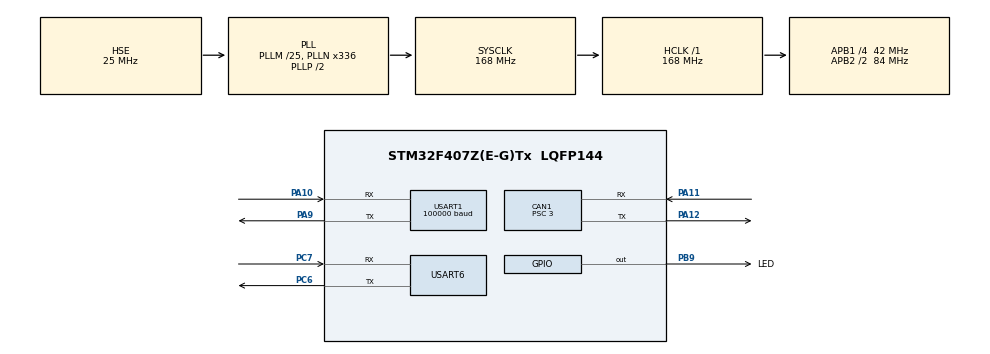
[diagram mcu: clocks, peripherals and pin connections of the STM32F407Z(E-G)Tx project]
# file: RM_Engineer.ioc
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CAN1.ABOM=ENABLE
CAN1.BS1=CAN_BS1_9TQ
CAN1.BS2=CAN_BS2_4TQ
CAN1.CalculateTimeQuantum=71.42857142857143
CAN1.Prescaler=3
Dma.Request0=USART1_RX
Dma.Request1=USART6_RX
Dma.USART1_RX.0.Direction=DMA_PERIPH_TO_MEMORY
Dma.USART1_RX.0.FIFOMode=DMA_FIFOMODE_DISABLE
Dma.USART1_RX.0.Instance=DMA2_Stream2
Dma.USART1_RX.0.MemDataAlignment=DMA_MDATAALIGN_BYTE
Dma.USART1_RX.0.MemInc=DMA_MINC_ENABLE
Dma.USART1_RX.0.Mode=DMA_NORMAL
Dma.USART1_RX.0.PeriphDataAlignment=DMA_PDATAALIGN_BYTE
Dma.USART1_RX.0.PeriphInc=DMA_PINC_DISABLE
Dma.USART1_RX.0.Priority=DMA_PRIORITY_LOW
Dma.USART6_RX.1.Direction=DMA_PERIPH_TO_MEMORY
Dma.USART6_RX.1.FIFOMode=DMA_FIFOMODE_DISABLE
Dma.USART6_RX.1.Instance=DMA2_Stream1
Dma.USART6_RX.1.MemDataAlignment=DMA_MDATAALIGN_BYTE
Dma.USART6_RX.1.MemInc=DMA_MINC_ENABLE
Dma.USART6_RX.1.Mode=DMA_CIRCULAR
Dma.USART6_RX.1.PeriphDataAlignment=DMA_PDATAALIGN_BYTE
Dma.USART6_RX.1.PeriphInc=DMA_PINC_DISABLE
Dma.USART6_RX.1.Priority=DMA_PRIORITY_LOW
FREERTOS.INCLUDE_vTaskDelayUntil=1
FREERTOS.Tasks01=defaultTask,-3,256,StartDefaultTask,Default,NULL,Dynamic,NULL,NULL;ChassisTask,-3,256,chassis_task,As weak,NULL,Dynamic,NULL,NULL;InfoTask,-3,256,info_handle_task,As weak,NULL,Dynamic,NULL,NULL
FREERTOS.configCHECK_FOR_STACK_OVERFLOW=1
Mcu.Family=STM32F4
Mcu.Name=STM32F407Z(E-G)Tx
Mcu.Package=LQFP144
NVIC.CAN1_RX0_IRQn=true\:5\:0\:false\:false\:true\:true\:true\:true
NVIC.CAN1_TX_IRQn=true\:5\:0\:false\:false\:true\:true\:true\:true
NVIC.DMA2_Stream1_IRQn=true\:5\:0\:false\:false\:true\:true\:false\:true
NVIC.DMA2_Stream2_IRQn=true\:5\:0\:false\:false\:true\:true\:false\:true
NVIC.PriorityGroup=NVIC_PRIORITYGROUP_4
NVIC.USART1_IRQn=true\:5\:0\:false\:false\:true\:true\:true\:true
NVIC.USART6_IRQn=true\:5\:0\:false\:false\:true\:true\:true\:true
PA10.Mode=Asynchronous
PA10.Signal=USART1_RX
PA11.Mode=Master
PA11.Signal=CAN1_RX
PA12.Mode=Master
PA12.Signal=CAN1_TX
PA9.Mode=Asynchronous
PA9.Signal=USART1_TX
PB9.GPIO_Label=LED
PB9.GPIO_PuPd=GPIO_PULLUP
PB9.Signal=GPIO_Output
PC6.Mode=Asynchronous
PC6.Signal=USART6_TX
PC7.Mode=Asynchronous
PC7.Signal=USART6_RX
PH0-OSC_IN.Mode=HSE-External-Oscillator
PH0-OSC_IN.Signal=RCC_OSC_IN
PH1-OSC_OUT.Mode=HSE-External-Oscillator
PH1-OSC_OUT.Signal=RCC_OSC_OUT
ProjectManager.HeapSize=0x200
ProjectManager.StackSize=0x400
ProjectManager.TargetToolchain=MDK-ARM V5
RCC.48MHZClocksFreq_Value=84000000
RCC.AHBFreq_Value=168000000
RCC.APB1CLKDivider=RCC_HCLK_DIV4
RCC.APB1Freq_Value=42000000
RCC.APB1TimFreq_Value=84000000
RCC.APB2CLKDivider=RCC_HCLK_DIV2
RCC.APB2Freq_Value=84000000
RCC.APB2TimFreq_Value=168000000
RCC.CortexFreq_Value=168000000
RCC.HCLKFreq_Value=168000000
RCC.HSE_VALUE=25000000
RCC.HSI_VALUE=16000000
RCC.LSE_VALUE=32768
RCC.PLLM=25
RCC.PLLN=336
RCC.PLLSourceVirtual=RCC_PLLSOURCE_HSE
RCC.SYSCLKFreq_VALUE=168000000
RCC.SYSCLKSource=RCC_SYSCLKSOURCE_PLLCLK
RCC.VCOOutputFreq_Value=336000000
USART1.BaudRate=100000
USART1.Mode=MODE_RX
USART1.Parity=PARITY_EVEN
USART1.VirtualMode=VM_ASYNC
USART6.VirtualMode=VM_ASYNC
VP_FREERTOS_VS_CMSIS_V1.Mode=CMSIS_V1
board=custom

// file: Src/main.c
/* USER CODE BEGIN Header */
/**
  ******************************************************************************
  * @file           : main.c
  * @brief          : Main program body
  ******************************************************************************
  * @attention
  *
  * <h2><center>&copy; Copyright (c) 2019 STMicroelectronics.
  * All rights reserved.</center></h2>
  *
  * This software component is licensed by ST under Ultimate Liberty license
  * SLA0044, the "License"; You may not use this file except in compliance with
  * the License. You may obtain a copy of the License at:
  *                             www.st.com/SLA0044
  *
  ******************************************************************************
  */
/* USER CODE END Header */

#include "main.h"
#include "cmsis_os.h"
#include "can.h"
#include "dma.h"
#include "usart.h"
#include "gpio.h"

/* USER CODE BEGIN Includes */
#include "bsp_uart.h"
#include "bsp_can.h"
#include "bsp_io.h"
#include "pid.h"
#include "DR16_decode.h"
#include "chassis_task.h"
#include "info_handle_task.h"
/* USER CODE END Includes */

void SystemClock_Config(void);
void MX_FREERTOS_Init(void);

int main(void)
{

  /* MCU Configuration--------------------------------------------------------*/

  /* Reset of all peripherals, Initializes the Flash interface and the Systick. */
  HAL_Init();

  /* Configure the system clock */
  SystemClock_Config();

  /* Initialize all configured peripherals */
  MX_GPIO_Init();
  MX_DMA_Init();
  MX_CAN1_Init();
  MX_USART1_UART_Init();
  MX_USART6_UART_Init();
  /* USER CODE BEGIN 2 */
  uart6_device_init();
	HAL_Delay(3000);
  uart1_device_init();
	HAL_Delay(500);
  can_device_init();
	HAL_Delay(4000);
  can_receive_start();
	HAL_Delay(100);
  chassis_param_init();
  moto_info_init();
  /* USER CODE END 2 */

  /* Call init function for freertos objects (in freertos.c) */
  MX_FREERTOS_Init();

  /* Start scheduler */
  osKernelStart();

  /* We should never get here as control is now taken by the scheduler */

  /* Infinite loop */
  while (1)
  {

  }
}

void SystemClock_Config(void)
{
  RCC_OscInitTypeDef RCC_OscInitStruct = {0};
  RCC_ClkInitTypeDef RCC_ClkInitStruct = {0};

  /** Configure the main internal regulator output voltage
  */
  __HAL_RCC_PWR_CLK_ENABLE();
  __HAL_PWR_VOLTAGESCALING_CONFIG(PWR_REGULATOR_VOLTAGE_SCALE1);
  /** Initializes the CPU, AHB and APB busses clocks
  */
  RCC_OscInitStruct.OscillatorType = RCC_OSCILLATORTYPE_HSE;
  RCC_OscInitStruct.HSEState = RCC_HSE_ON;
  RCC_OscInitStruct.PLL.PLLState = RCC_PLL_ON;
  RCC_OscInitStruct.PLL.PLLSource = RCC_PLLSOURCE_HSE;
  RCC_OscInitStruct.PLL.PLLM = 25;
  RCC_OscInitStruct.PLL.PLLN = 336;
  RCC_OscInitStruct.PLL.PLLP = RCC_PLLP_DIV2;
  RCC_OscInitStruct.PLL.PLLQ = 4;
  if (HAL_RCC_OscConfig(&RCC_OscInitStruct) != HAL_OK)
  {
    Error_Handler();
  }
  /** Initializes the CPU, AHB and APB busses clocks
  */
  RCC_ClkInitStruct.ClockType = RCC_CLOCKTYPE_HCLK|RCC_CLOCKTYPE_SYSCLK
                              |RCC_CLOCKTYPE_PCLK1|RCC_CLOCKTYPE_PCLK2;
  RCC_ClkInitStruct.SYSCLKSource = RCC_SYSCLKSOURCE_PLLCLK;
  RCC_ClkInitStruct.AHBCLKDivider = RCC_SYSCLK_DIV1;
  RCC_ClkInitStruct.APB1CLKDivider = RCC_HCLK_DIV4;
  RCC_ClkInitStruct.APB2CLKDivider = RCC_HCLK_DIV2;

  if (HAL_RCC_ClockConfig(&RCC_ClkInitStruct, FLASH_LATENCY_5) != HAL_OK)
  {
    Error_Handler();
  }
}

void Error_Handler(void)
{
}

/************************ (C) COPYRIGHT STMicroelectronics *****END OF FILE****/

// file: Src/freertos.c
/* USER CODE BEGIN Header */
/**
  ******************************************************************************
  * File Name          : freertos.c
  * Description        : Code for freertos applications
  ******************************************************************************
  * @attention
  *
  * <h2><center>&copy; Copyright (c) 2019 STMicroelectronics.
  * All rights reserved.</center></h2>
  *
  * This software component is licensed by ST under Ultimate Liberty license
  * SLA0044, the "License"; You may not use this file except in compliance with
  * the License. You may obtain a copy of the License at:
  *                             www.st.com/SLA0044
  *
  ******************************************************************************
  */
/* USER CODE END Header */

#include "FreeRTOS.h"
#include "task.h"
#include "main.h"
#include "cmsis_os.h"

/* USER CODE BEGIN Includes */
#include "bsp_can.h"
#include "bsp_uart.h"
#include "chassis_task.h"
#include "info_handle_task.h"
/* USER CODE END Includes */

osThreadId defaultTaskHandle;
osThreadId ChassisTaskHandle;
osThreadId InfoTaskHandle;

void StartDefaultTask(void const * argument);
void chassis_task(void const * argument);
void info_handle_task(void const * argument);

void MX_FREERTOS_Init(void); /* (MISRA C 2004 rule 8.1) */

/* GetIdleTaskMemory prototype (linked to static allocation support) */
void vApplicationGetIdleTaskMemory( StaticTask_t **ppxIdleTaskTCBBuffer, StackType_t **ppxIdleTaskStackBuffer, uint32_t *pulIdleTaskStackSize );

/* Hook prototypes */
void vApplicationStackOverflowHook(xTaskHandle xTask, signed char *pcTaskName);

/* USER CODE BEGIN 4 */
__weak void vApplicationStackOverflowHook(xTaskHandle xTask, signed char *pcTaskName)
{
   /* Run time stack overflow checking is performed if
   configCHECK_FOR_STACK_OVERFLOW is defined to 1 or 2. This hook function is
   called if a stack overflow is detected. */
}
/* USER CODE END 4 */

/* USER CODE BEGIN GET_IDLE_TASK_MEMORY */
static StaticTask_t xIdleTaskTCBBuffer;
static StackType_t xIdleStack[configMINIMAL_STACK_SIZE];

void vApplicationGetIdleTaskMemory( StaticTask_t **ppxIdleTaskTCBBuffer, StackType_t **ppxIdleTaskStackBuffer, uint32_t *pulIdleTaskStackSize )
{
  *ppxIdleTaskTCBBuffer = &xIdleTaskTCBBuffer;
  *ppxIdleTaskStackBuffer = &xIdleStack[0];
  *pulIdleTaskStackSize = configMINIMAL_STACK_SIZE;
  /* place for user code */
}
/* USER CODE END GET_IDLE_TASK_MEMORY */

void MX_FREERTOS_Init(void) {

  /* Create the thread(s) */
  /* definition and creation of defaultTask */
  osThreadDef(defaultTask, StartDefaultTask, osPriorityIdle, 0, 256);
  defaultTaskHandle = osThreadCreate(osThread(defaultTask), NULL);

  /* definition and creation of ChassisTask */
  osThreadDef(ChassisTask, chassis_task, osPriorityIdle, 0, 256);
  ChassisTaskHandle = osThreadCreate(osThread(ChassisTask), NULL);

  /* definition and creation of InfoTask */
  osThreadDef(InfoTask, info_handle_task, osPriorityIdle, 0, 256);
  InfoTaskHandle = osThreadCreate(osThread(InfoTask), NULL);

}

/* USER CODE BEGIN Header_StartDefaultTask */
extern int identity_time_ms[10];
extern uint32_t can_cnt[10];
/**
  * @brief  Function implementing the defaultTask thread.
  * @param  argument: Not used
  * @retval None
  */
/* USER CODE END Header_StartDefaultTask */
void StartDefaultTask(void const * argument)
{
  /* USER CODE BEGIN StartDefaultTask */
  /* Infinite loop */
  for(;;)
  {
		// CAN  REVEICE  DEBUG

			printf("gyro_yaw.angle_z= %.3f\r\n",gyro_yaw.angle_z);
			printf("gyro_yaw.yaw_speed= %.3f\r\n",gyro_yaw.yaw_speed);
			printf("chassis.vw= %.3f\r\n",chassis.vw);
			printf("chassis.target_angle= %.3f\r\n",chassis.target_angle );
		  printf("chassis.current= %d\r\n",chassis.current [0]);
		  printf("identity_ms 0= %d\r\n",identity_time_ms [0]);
		#if 1
		  printf("#############################\r\n");
			printf("Top_Left_Target= %d\r\n",chassis.target[0]);
			printf("Top_Left_Speed= %d\r\n",moto_chassis[0].speed_rpm);

			printf("Top_Right_Target= %d\r\n",chassis.target[1]);
			printf("Top_Right_Speed= %d\r\n",moto_chassis[1].speed_rpm);

			printf("BACK_Left_Target= %d\r\n",chassis.target[2]);
			printf("BACK_Left_Target= %d\r\n",moto_chassis[2].speed_rpm);

			printf("BACK_Right_Target= %d\r\n",chassis.target[3]);
			printf("BACK_Right_Target= %d\r\n",moto_chassis[3].speed_rpm);

			printf("MID_Left_Target= %d\r\n",chassis.target[4]);
			printf("MID_Left_Target= %d\r\n",moto_chassis[4].speed_rpm);

			printf("MID_Right_Target= %d\r\n",chassis.target[5]);
			printf("MID_Right_Speed= %d\r\n",moto_chassis[5].speed_rpm);
		#endif
		// CHASSIS MOTOR PID DEBUG

	  HAL_GPIO_TogglePin(LED_GPIO_Port, LED_Pin);
    osDelay(200);
  }
  /* USER CODE END StartDefaultTask */
}

__weak void chassis_task(void const * argument)
{
  for(;;)
  {
    osDelay(1);
  }
}

__weak void info_handle_task(void const * argument)
{
  for(;;)
  {
    osDelay(1);
  }
}

/************************ (C) COPYRIGHT STMicroelectronics *****END OF FILE****/
